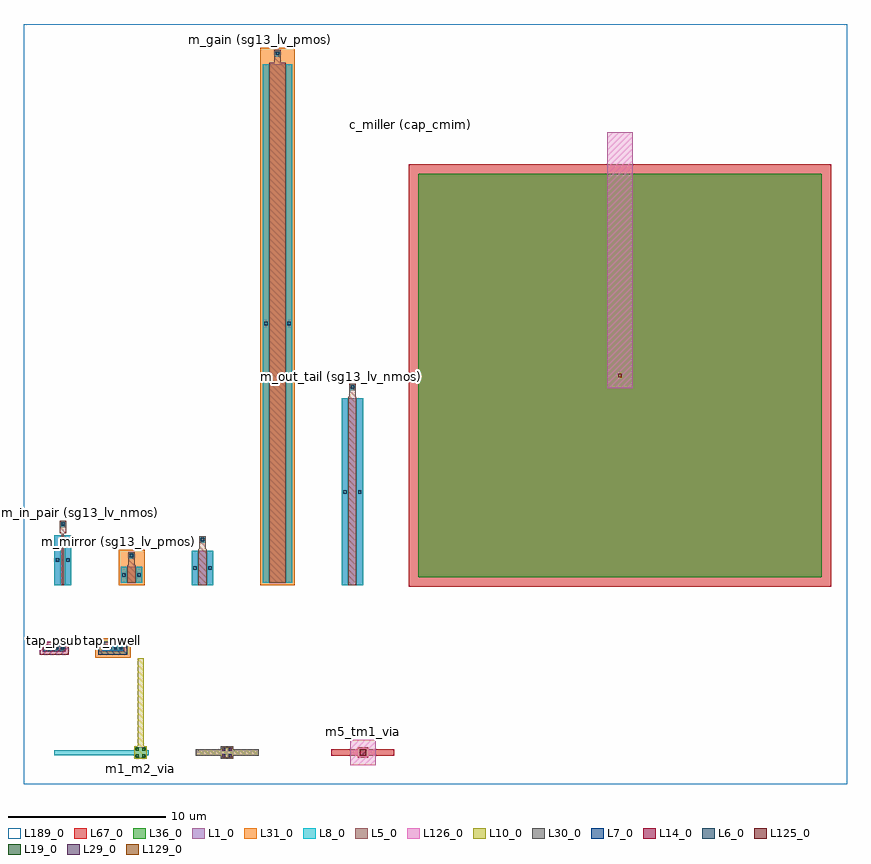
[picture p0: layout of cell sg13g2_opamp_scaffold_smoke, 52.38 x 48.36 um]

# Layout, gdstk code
import gdstk
lib = gdstk.Library(unit=1e-6, precision=1e-09)
def R(c, l, rs):  # rectangles x0, y0, x1, y1
    for r in rs: c.add(gdstk.rectangle(r[:2], r[2:], *l))
def A(c, l, x, y, w, h, nx, ny, dx, dy):  # array of equal rectangles
    R(c, l, [(x+i*dx, y+j*dy, x+i*dx+w, y+j*dy+h) for i in range(nx) for j in range(ny)])
L1_0 = (1, 0)
L5_0 = (5, 0)
L6_0 = (6, 0)
L7_0 = (7, 0)
L8_0 = (8, 0)
L10_0 = (10, 0)
L14_0 = (14, 0)
L19_0 = (19, 0)
L29_0 = (29, 0)
L30_0 = (30, 0)
L31_0 = (31, 0)
L36_0 = (36, 0)
L67_0 = (67, 0)
L125_0 = (125, 0)
L126_0 = (126, 0)
L129_0 = (129, 0)
L189_0 = (189, 0)

m_in_pair = lib.new_cell('m_in_pair')
R(m_in_pair, L1_0, [(0,0,1.09,3.2)])
R(m_in_pair, L5_0, [(0.48,0,0.61,3.2), (0.48,3.2,0.61,3.3), (0.335,3.3,0.755,4.12)])
R(m_in_pair, L6_0, [(0.1,1.49,0.32,1.71), (0.77,1.49,0.99,1.71), (0.435,3.8,0.655,4.02)])
R(m_in_pair, L8_0, [(0,0,0.42,3.2), (0.67,0,1.09,3.2), (0.335,3.7,0.755,4.12)])

m_mirror = lib.new_cell('m_mirror')
R(m_mirror, L1_0, [(0,0,1.36,1.04)])
R(m_mirror, L5_0, [(0.42,0,0.94,1.04), (0.42,1.04,0.94,1.14), (0.47,1.14,0.89,1.96)])
R(m_mirror, L6_0, [(0.1,0.41,0.32,0.63), (1.04,0.41,1.26,0.63), (0.57,1.64,0.79,1.86)])
R(m_mirror, L8_0, [(0,0,0.42,1.04), (0.94,0,1.36,1.04), (0.47,1.54,0.89,1.96)])
R(m_mirror, L31_0, [(-0.15,-0.15,1.51,2.11)])

m_tail = lib.new_cell('m_tail')
R(m_tail, L1_0, [(0,0,1.36,2.2)])
R(m_tail, L5_0, [(0.42,0,0.94,2.2), (0.42,2.2,0.94,2.3), (0.47,2.3,0.89,3.12)])
R(m_tail, L6_0, [(0.1,0.99,0.32,1.21), (1.04,0.99,1.26,1.21), (0.57,2.8,0.79,3.02)])
R(m_tail, L8_0, [(0,0,0.42,2.2), (0.94,0,1.36,2.2), (0.47,2.7,0.89,3.12)])

m_gain = lib.new_cell('m_gain')
R(m_gain, L1_0, [(0,0,1.88,33)])
R(m_gain, L5_0, [(0.42,0,1.46,33), (0.42,33,1.46,33.1), (0.73,33.1,1.15,33.92)])
R(m_gain, L6_0, [(0.1,16.39,0.32,16.61), (1.56,16.39,1.78,16.61), (0.83,33.6,1.05,33.82)])
R(m_gain, L8_0, [(0,0,0.42,33), (1.46,0,1.88,33), (0.73,33.5,1.15,33.92)])
R(m_gain, L31_0, [(-0.15,-0.15,2.03,34.07)])

m_out_tail = lib.new_cell('m_out_tail')
R(m_out_tail, L1_0, [(0,0,1.36,11.9)])
R(m_out_tail, L5_0, [(0.42,0,0.94,11.9), (0.42,11.9,0.94,12), (0.47,12,0.89,12.82)])
R(m_out_tail, L6_0, [(0.1,5.84,0.32,6.06), (1.04,5.84,1.26,6.06), (0.57,12.5,0.79,12.72)])
R(m_out_tail, L8_0, [(0,0,0.42,11.9), (0.94,0,1.36,11.9), (0.47,12.4,0.89,12.82)])

c_miller = lib.new_cell('c_miller')
R(c_miller, L36_0, [(0.5,0.5,26.2,26.2)])
R(c_miller, L67_0, [(0,0,26.7,26.7)])
R(c_miller, L126_0, [(12.53,12.53,14.17,14.17), (12.53,14.17,14.17,27.2), (12.53,27.2,14.17,28.84)])
R(c_miller, L129_0, [(13.24,13.24,13.46,13.46)])

sg13g2_opamp_scaffold_sm = lib.new_cell('sg13g2_opamp_scaffold_smoke')
R(sg13g2_opamp_scaffold_sm, L1_0, [(-0.73,-4.22,0.73,-3.78), (3,-4.22,4.46,-3.78)])
A(sg13g2_opamp_scaffold_sm, L6_0, -0.59, -4.08, 0.16, 0.16, 4, 1, 0.34, 0)
A(sg13g2_opamp_scaffold_sm, L6_0, 3.14, -4.08, 0.16, 0.16, 4, 1, 0.34, 0)
R(sg13g2_opamp_scaffold_sm, L7_0, [(2.8,-4.42,4.66,-3.58)])
R(sg13g2_opamp_scaffold_sm, L8_0, [(5.17,-10.97,5.83,-10.31), (0,-10.8,6,-10.48), (-0.67,-4.16,0.67,-3.84), (3.06,-4.16,4.4,-3.84)])
R(sg13g2_opamp_scaffold_sm, L10_0, [(5.1,-11.04,5.9,-10.24), (10.675,-10.965,11.325,-10.315), (9,-10.84,13,-10.44), (5.3,-10.64,5.7,-4.64)])
R(sg13g2_opamp_scaffold_sm, L14_0, [(-0.93,-4.42,0.93,-3.58)])
R(sg13g2_opamp_scaffold_sm, L19_0, [(5.2,-10.94,5.39,-10.75), (5.61,-10.94,5.8,-10.75), (5.2,-10.53,5.39,-10.34), (5.61,-10.53,5.8,-10.34)])
R(sg13g2_opamp_scaffold_sm, L29_0, [(10.7,-10.94,10.89,-10.75), (11.11,-10.94,11.3,-10.75), (10.7,-10.53,10.89,-10.34), (11.11,-10.53,11.3,-10.34)])
R(sg13g2_opamp_scaffold_sm, L30_0, [(10.6,-11.04,11.4,-10.24), (9,-10.84,13,-10.44)])
R(sg13g2_opamp_scaffold_sm, L31_0, [(2.6,-4.62,4.86,-3.38)])
R(sg13g2_opamp_scaffold_sm, L67_0, [(19.31,-10.97,19.97,-10.31), (17.64,-10.84,21.64,-10.44), (22.55,-0.1,49.45,26.8)])
R(sg13g2_opamp_scaffold_sm, L125_0, [(19.43,-10.85,19.85,-10.43)])
R(sg13g2_opamp_scaffold_sm, L126_0, [(18.82,-11.46,20.46,-9.82)])
R(sg13g2_opamp_scaffold_sm, L189_0, [(-1.93,-12.64,50.45,35.72)])
sg13g2_opamp_scaffold_sm.add(gdstk.Reference(m_in_pair, (0,0)))
sg13g2_opamp_scaffold_sm.add(gdstk.Reference(m_mirror, (4.24,0.15)))
sg13g2_opamp_scaffold_sm.add(gdstk.Reference(m_tail, (8.75,0)))
sg13g2_opamp_scaffold_sm.add(gdstk.Reference(m_gain, (13.26,0.15)))
sg13g2_opamp_scaffold_sm.add(gdstk.Reference(m_out_tail, (18.29,0)))
sg13g2_opamp_scaffold_sm.add(gdstk.Reference(c_miller, (22.65,0)))
sg13g2_opamp_scaffold_sm.add(gdstk.Label('m_in_pair (sg13_lv_nmos)', (0,4.62), layer=63, texttype=0))
sg13g2_opamp_scaffold_sm.add(gdstk.Label('m_mirror (sg13_lv_pmos)', (4.09,2.76), layer=63, texttype=0))
sg13g2_opamp_scaffold_sm.add(gdstk.Label('m_tail (sg13_lv_nmos)', (8.75,3.62), layer=63, texttype=0))
sg13g2_opamp_scaffold_sm.add(gdstk.Label('m_gain (sg13_lv_pmos)', (13.11,34.72), layer=63, texttype=0))
sg13g2_opamp_scaffold_sm.add(gdstk.Label('m_out_tail (sg13_lv_nmos)', (18.29,13.32), layer=63, texttype=0))
sg13g2_opamp_scaffold_sm.add(gdstk.Label('c_miller (cap_cmim)', (22.65,29.34), layer=63, texttype=0))
sg13g2_opamp_scaffold_sm.add(gdstk.Label('tap_psub', (0,-3.48), layer=63, texttype=0))
sg13g2_opamp_scaffold_sm.add(gdstk.Label('tap_nwell', (3.73,-3.48), layer=63, texttype=0))
sg13g2_opamp_scaffold_sm.add(gdstk.Label('m1_m2_via', (5.5,-11.64), layer=63, texttype=0))
sg13g2_opamp_scaffold_sm.add(gdstk.Label('m5_tm1_via', (19.64,-9.32), layer=63, texttype=0))

lib.write_gds('sg13g2_opamp_scaffold_smoke.gds')
